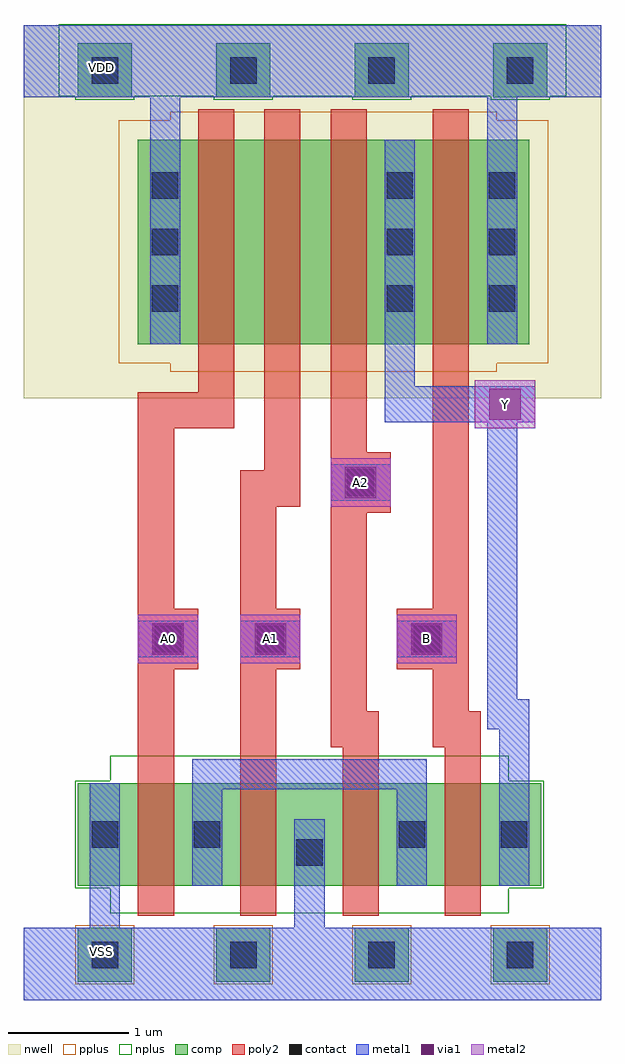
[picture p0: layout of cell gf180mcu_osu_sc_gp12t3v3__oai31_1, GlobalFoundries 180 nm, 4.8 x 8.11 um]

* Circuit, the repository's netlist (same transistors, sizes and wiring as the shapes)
* Copyright 2022 Google LLC
*
* Licensed under the Apache License, Version 2.0 (the "License");
* you may not use this file except in compliance with the License.
* You may obtain a copy of the License at
*
*      http://www.apache.org/licenses/LICENSE-2.0
*
* Unless required by applicable law or agreed to in writing, software
* distributed under the License is distributed on an "AS IS" BASIS,
* WITHOUT WARRANTIES OR CONDITIONS OF ANY KIND, either express or implied.
* See the License for the specific language governing permissions and
* limitations under the License.

.inc "/import/yukari1/lrburle/OSU_180/char/techfiles/design.hspice"
.lib "/import/yukari1/lrburle/OSU_180/char/techfiles/sm141064.hspice" typical

.GLOBAL VDD
.GLOBAL VSS

.option scale=0.05u

.subckt gf180mcu_osu_sc_gp12t3v3__oai31_1 Y B A0 A1 A2
X0 a_35_109 A0 VDD VDD pmos_3p3 w=34 l=6
X1 a_25_19 A2 VSS VSS nmos_3p3 w=17 l=6
X2 a_25_19 A0 VSS VSS nmos_3p3 w=17 l=6
X3 Y B a_25_19 VSS nmos_3p3 w=17 l=6
X4 Y A2 a_46_109 VDD pmos_3p3 w=34 l=6
X5 VDD B Y VDD pmos_3p3 w=34 l=6
X6 VSS A1 a_25_19 VSS nmos_3p3 w=17 l=6
X7 a_46_109 A1 a_35_109 VDD pmos_3p3 w=34 l=6
.ends

** hspice subcircuit dictionary

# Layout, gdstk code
import gdstk
lib = gdstk.Library(unit=1e-6, precision=1e-09)
def R(c, l, rs):  # rectangles x0, y0, x1, y1
    for r in rs: c.add(gdstk.rectangle(r[:2], r[2:], *l))
def A(c, l, x, y, w, h, nx, ny, dx, dy):  # array of equal rectangles
    R(c, l, [(x+i*dx, y+j*dy, x+i*dx+w, y+j*dy+h) for i in range(nx) for j in range(ny)])
nwell = (21, 0)
comp = (22, 0)
poly2 = (30, 0)
pplus = (31, 0)
nplus = (32, 0)
contact = (33, 0)
metal1 = (34, 0)
via1 = (35, 0)
metal2 = (36, 0)

gf180mcu_osu_sc_gp12t3v3 = lib.new_cell('gf180mcu_osu_sc_gp12t3v3__oai31_1')
R(gf180mcu_osu_sc_gp12t3v3, nwell, [(0,5,4.8,8.1)])
A(gf180mcu_osu_sc_gp12t3v3, comp, 0.45, 0.15, 0.45, 0.45, 4, 2, 1.15, 7.35)
R(gf180mcu_osu_sc_gp12t3v3, comp, [(0.45,0.95,4.3,1.8), (0.95,5.45,4.2,7.15)])
R(gf180mcu_osu_sc_gp12t3v3, poly2, [(0.95,0.7,1.25,2.75), (1.8,0.7,2.1,2.75), (2.65,0.7,2.95,2.1), (3.5,0.7,3.8,2.1), (2.55,2.1,2.95,2.4), (3.4,2.1,3.8,2.4), (2.55,2.4,2.85,4.05), (3.4,2.4,3.7,2.75), (0.95,2.75,1.45,3.25), (1.8,2.75,2.3,3.25), (3.1,2.75,3.7,3.25), (0.95,3.25,1.25,4.75), (1.8,3.25,2.1,4.1), (3.4,3.25,3.7,7.4), (2.55,4.05,3.05,4.55), (1.8,4.1,2.3,4.4), (2,4.4,2.3,7.4), (2.55,4.55,2.85,7.4), (0.95,4.75,1.75,5.05), (1.45,5.05,1.75,7.4)])
A(gf180mcu_osu_sc_gp12t3v3, pplus, 0.43, 0.13, 0.49, 0.49, 4, 1, 1.15, 0)
R(gf180mcu_osu_sc_gp12t3v3, pplus, [(1.22,5.22,3.93,5.29), (0.79,5.29,4.36,7.31), (1.22,7.31,3.93,7.38)])
A(gf180mcu_osu_sc_gp12t3v3, nplus, 0.43, 7.48, 0.49, 0.03, 4, 1, 1.15, 0)
R(gf180mcu_osu_sc_gp12t3v3, nplus, [(0.72,0.72,4.03,0.93), (0.43,0.93,4.32,1.82), (0.72,1.82,4.03,2.03), (0.29,7.51,4.51,8.11)])
A(gf180mcu_osu_sc_gp12t3v3, contact, 0.565, 0.265, 0.22, 0.22, 4, 2, 1.15, 7.35)
A(gf180mcu_osu_sc_gp12t3v3, contact, 1.065, 5.72, 0.22, 0.22, 1, 3, 0, 0.47)
A(gf180mcu_osu_sc_gp12t3v3, contact, 3.015, 5.72, 0.22, 0.22, 1, 3, 0, 0.47)
A(gf180mcu_osu_sc_gp12t3v3, contact, 3.865, 5.72, 0.22, 0.22, 1, 3, 0, 0.47)
R(gf180mcu_osu_sc_gp12t3v3, contact, [(2.265,1.115,2.485,1.335), (0.565,1.265,0.785,1.485), (1.415,1.265,1.635,1.485), (3.115,1.265,3.335,1.485), (3.965,1.265,4.185,1.485), (1.09,2.89,1.31,3.11), (1.94,2.89,2.16,3.11), (3.24,2.89,3.46,3.11), (2.69,4.19,2.91,4.41)])
R(gf180mcu_osu_sc_gp12t3v3, metal1, [(0,0,4.8,0.6), (0.55,0.6,0.8,1.8), (2.25,0.6,2.5,1.5), (1.4,0.95,1.65,1.75), (3.1,0.95,3.35,1.75), (3.95,0.95,4.2,2.25), (1.4,1.75,3.35,2), (3.85,2.25,4.2,2.5), (3.85,2.5,4.1,4.8), (0.95,2.85,1.45,3.15), (1.8,2.85,2.3,3.15), (3.1,2.85,3.6,3.15), (2.55,4.15,3.05,4.45), (3,4.8,4.25,5.1), (3,5.1,3.25,7.15), (1.05,5.45,1.3,7.5), (3.85,5.45,4.1,7.5), (0,7.5,4.8,8.1)])
R(gf180mcu_osu_sc_gp12t3v3, via1, [(1.07,2.87,1.33,3.13), (1.92,2.87,2.18,3.13), (3.22,2.87,3.48,3.13), (2.67,4.17,2.93,4.43), (3.87,4.82,4.13,5.08)])
R(gf180mcu_osu_sc_gp12t3v3, metal2, [(0.95,2.8,1.45,3.2), (1.8,2.8,2.3,3.2), (3.1,2.8,3.6,3.2), (2.55,4.1,3.05,4.5), (3.75,4.75,4.25,5.15)])
gf180mcu_osu_sc_gp12t3v3.add(gdstk.Label('VSS', (0.65,0.4), layer=34, texttype=0))
gf180mcu_osu_sc_gp12t3v3.add(gdstk.Label('VDD', (0.65,7.75), layer=34, texttype=0))
gf180mcu_osu_sc_gp12t3v3.add(gdstk.Label('Y', (4,4.95), layer=36, texttype=10))
gf180mcu_osu_sc_gp12t3v3.add(gdstk.Label('B', (3.35,3), layer=36, texttype=10))
gf180mcu_osu_sc_gp12t3v3.add(gdstk.Label('A0', (1.2,3), layer=36, texttype=10))
gf180mcu_osu_sc_gp12t3v3.add(gdstk.Label('A1', (2.05,3), layer=36, texttype=10))
gf180mcu_osu_sc_gp12t3v3.add(gdstk.Label('A2', (2.8,4.3), layer=36, texttype=10))

lib.write_gds('gf180mcu_osu_sc_gp12t3v3__oai31_1.gds')
